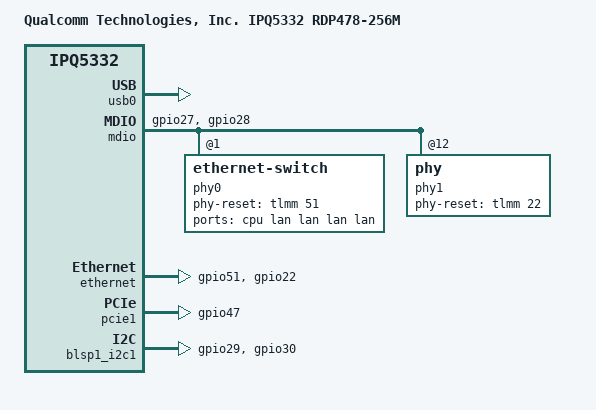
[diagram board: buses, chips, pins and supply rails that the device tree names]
// SPDX-License-Identifier: GPL-2.0-only
/*
 * Copyright (c) Qualcomm Technologies, Inc. and/or its subsidiaries.​
 */

/dts-v1/;

#include "ipq5332-rdp-common.dtsi"
#include "ipq5332-rdp-common-ub.dtsi"

/ {
	model = "Qualcomm Technologies, Inc. IPQ5332 RDP478-256M";
	compatible = "qcom,ipq5332-rdp478-256m", "qcom,ipq5332";

	soc@0 {
		hs_m31phy_0: hs_m31phy@7b000 {
			status = "okay";
		};

		usb0: usb@8af8800 {
			qcom,select-utmi-as-pipe-clk;
			status = "okay";

			dwc3@8a00000 {
				phys = <&hs_m31phy_0>;
				phy-names = "usb2-phy";
				maximum-speed = "high-speed";
			};
		};

		mdio: mdio@90000 {
			pinctrl-names = "default";
			pinctrl-0 = <&mdio_pinmux>;
			status = "okay";

			phy0: ethernet-switch@1 {
				phy-reset-gpio = <&tlmm 51 0>;
				dev-mode = <0x1>;
				phy_addr = <1>;
				phy_type = <QCA8x8x_SWITCH_TYPE>;
				id = <1>;
				uniphy_id = <0>;
				uniphy_type = <0>;
				max_speed = <2500>;
				force-speed;
				xgmac;
				ports {
					#address-cells = <1>;
					#size-cells = <0>;

					port0: port@0 {
						phy_addr = <0>;
						label = "cpu";
						phy-mode = "2500base-x";
						fixed-link {
							speed = <2500>;
							full-duplex;
						};
					};

					port1: port@1 {
						phy_addr = <1>;
						label = "lan";
					};

					port2: port@2 {
						phy_addr = <2>;
						label = "lan";
					};

					port3: port@3 {
						phy_addr = <3>;
						label = "lan";
					};

					port4: port@4 {
						phy_addr = <4>;
						label = "lan";
					};
				};
			};

			phy1: phy@12 {
				phy-reset-gpio = <&tlmm 22 0>;
				phy_addr = <12>;
				phy_type = <QCA8081_PHY_TYPE>;
				id = <2>;
				uniphy_id = <1>;
				uniphy_type = <0>;
				max_speed = <2500>;
				xgmac;
			};
		};

		ethernet: nss-switch {
			pinctrl-names = "default";
			pinctrl-0 = <&phy_rst_pinmux>;
			phy-handle0 = <&phy0>;
			phy-handle1 = <&phy1>;
			status = "okay";
		};
	};
};

&tlmm {
	mdio_pinmux: mdio {
		mdc {
			pins = "gpio27";
			function = "mdc1";
			drive-strength = <2>;
			bias-disable;
		};

		mdio {
			pins = "gpio28";
			function = "mdio1";
			drive-strength = <2>;
			bias-pull-up;
		};
	};

	phy_rst_pinmux: phy_rst {
		qti_8x8x_rst {
			pins = "gpio51";
			drive-strength = <8>;
			bias-pull-up;
		};

		qti_8081_rst {
			pins = "gpio22";
			drive-strength = <8>;
			bias-pull-up;
		};
	};

	pcie1_default_state: pcie1-default-state {
		pins = "gpio47";
		function = "gpio";
		drive-strength = <8>;
		bias-pull-up;
		output-low;
	};

	blsp1_i2c1_pinmux: blsp1_i2c1_pins {
		blsp1_scl {
			pins = "gpio29";
			function = "blsp1_i2c0";
			drive-strength = <8>;
			bias-pull-up;
		};

		blsp1_sda {
			pins = "gpio30";
			function = "blsp1_i2c0";
			drive-strength = <8>;
			bias-pull-up;
		};
	};
};

&pcie1 {
	pinctrl-0 = <&pcie1_default_state>;
	pinctrl-names = "default";
	perst-gpios = <&tlmm 47 GPIO_ACTIVE_LOW>;
	status = "okay";
};

&blsp1_i2c1 {
	pinctrl-names = "default";
	pinctrl-0 = <&blsp1_i2c1_pinmux>;
	status = "okay";
};
